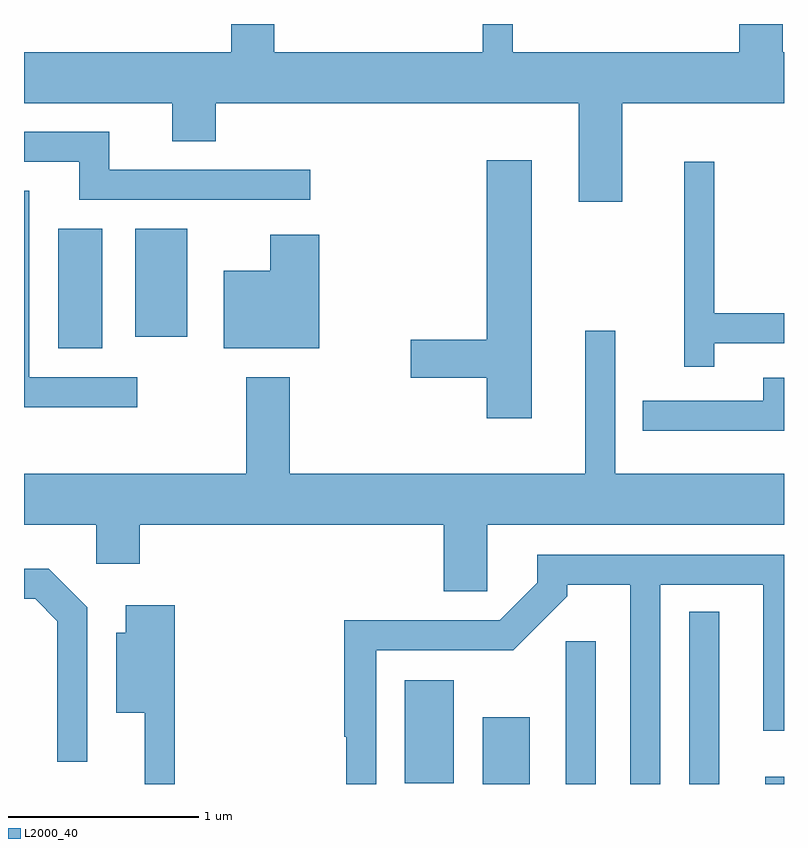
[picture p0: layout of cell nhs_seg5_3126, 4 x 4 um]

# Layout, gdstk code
import gdstk
lib = gdstk.Library(unit=1e-6, precision=1e-09)
def R(c, l, rs):  # rectangles x0, y0, x1, y1
    for r in rs: c.add(gdstk.rectangle(r[:2], r[2:], *l))
def P(c, l, *ps):  # polygons
    for p in ps: c.add(gdstk.Polygon(p, *l))
L2000_40 = (2000, 40)

nhs_seg5_3126 = lib.new_cell('nhs_seg5_3126')
R(nhs_seg5_3126, L2000_40, [(280.026,1482.072,280.274,1482.424), (280.461,1482.072,280.619,1482.823), (281.111,1482.072,281.269,1482.978), (281.513,1482.072,281.611,1482.109), (279.616,1482.076,279.874,1482.619), (277.791,1484.366,278.024,1484.994), (278.196,1484.426,278.469,1484.994)])
P(nhs_seg5_3126, L2000_40, [(280.759,1485.656),(281.611,1485.656),(281.611,1485.924),(281.604,1485.924),(281.604,1486.072),(281.376,1486.072),(281.376,1485.924),(280.184,1485.924),(280.184,1486.072),(280.026,1486.072),(280.026,1485.924),(278.929,1485.924),(278.929,1486.072),(278.701,1486.072),(278.701,1485.924),(277.611,1485.924),(277.611,1485.656),(278.391,1485.656),(278.391,1485.456),(278.619,1485.456),(278.619,1485.656),(280.531,1485.656),(280.531,1485.136),(280.759,1485.136)],
  [(279.118,1485.304),(278.059,1485.304),(278.059,1485.504),(277.611,1485.504),(277.611,1485.346),(277.901,1485.346),(277.901,1485.146),(279.118,1485.146)],
  [(280.284,1485.354),(280.046,1485.354),(280.046,1484.409),(279.646,1484.409),(279.646,1484.211),(280.046,1484.211),(280.046,1483.996),(280.284,1483.996)],
  [(281.244,1484.391),(281.611,1484.391),(281.611,1484.549),(281.244,1484.549),(281.244,1485.348),(281.086,1485.348),(281.086,1484.268),(281.244,1484.268)],
  [(278.208,1484.214),(277.639,1484.214),(277.639,1485.194),(277.611,1485.194),(277.611,1484.056),(278.208,1484.056)],
  [(279.164,1484.964),(278.906,1484.964),(278.906,1484.774),(278.661,1484.774),(278.661,1484.366),(279.164,1484.366)],
  [(280.049,1483.436),(281.611,1483.436),(281.611,1483.704),(280.724,1483.704),(280.724,1484.458),(280.566,1484.458),(280.566,1483.704),(279.009,1483.704),(279.009,1484.214),(278.781,1484.214),(278.781,1483.704),(277.611,1483.704),(277.611,1483.436),(277.991,1483.436),(277.991,1483.231),(278.219,1483.231),(278.219,1483.436),(279.821,1483.436),(279.821,1483.086),(280.049,1483.086)],
  [(281.611,1484.209),(281.501,1484.209),(281.501,1484.089),(280.868,1484.089),(280.868,1483.931),(281.611,1483.931)],
  [(279.464,1482.776),(280.187,1482.776),(280.469,1483.059),(280.469,1483.121),(280.801,1483.121),(280.801,1482.072),(280.959,1482.072),(280.959,1483.121),(281.501,1483.121),(281.501,1482.353),(281.611,1482.353),(281.611,1483.279),(280.311,1483.279),(280.311,1483.132),(280.114,1482.934),(279.296,1482.934),(279.296,1482.32),(279.306,1482.32),(279.306,1482.072),(279.464,1482.072)],
  [(277.944,1483.002),(277.742,1483.204),(277.611,1483.204),(277.611,1483.046),(277.669,1483.046),(277.786,1482.929),(277.786,1482.188),(277.944,1482.188)],
  [(278.404,1483.014),(278.146,1483.014),(278.146,1482.869),(278.096,1482.869),(278.096,1482.446),(278.246,1482.446),(278.246,1482.072),(278.404,1482.072)])

lib.write_gds('nhs_seg5_3126.gds')
